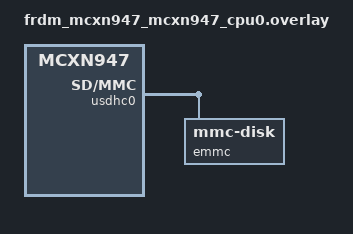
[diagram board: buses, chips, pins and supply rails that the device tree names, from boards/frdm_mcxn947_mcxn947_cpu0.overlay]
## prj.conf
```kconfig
CONFIG_DISK_ACCESS=y
CONFIG_LOG=y
CONFIG_FILE_SYSTEM=y
CONFIG_FAT_FILESYSTEM_ELM=y
CONFIG_PRINTK=y
CONFIG_MAIN_STACK_SIZE=2048

#CONFIG_SD_LOG_LEVEL_DBG=y
CONFIG_FILE_SYSTEM_MKFS=y
```

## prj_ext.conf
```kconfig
# Copyright (c) 2023 Antmicro <www.antmicro.com>
# SPDX-License-Identifier: Apache-2.0

CONFIG_LOG=y
CONFIG_LOG_MODE_IMMEDIATE=y

CONFIG_MAIN_STACK_SIZE=2048

CONFIG_FILE_SYSTEM=y
CONFIG_FILE_SYSTEM_EXT2=y

# Enable to allow formatting
# CONFIG_FILE_SYSTEM_MKFS=y
# CONFIG_TEST_RANDOM_GENERATOR=y

CONFIG_DISK_ACCESS=y
CONFIG_DISK_DRIVER_SDMMC=y

# First block of first partition after GPT
CONFIG_EXT2_DISK_STARTING_SECTOR=2082
Is this in?
```

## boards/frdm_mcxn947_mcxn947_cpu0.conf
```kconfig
CONFIG_LOG=y
CONFIG_LOG_PRINTK=y
CONFIG_USE_SEGGER_RTT=n
CONFIG_LOG_BACKEND_RTT=n
CONFIG_LOG_BUFFER_SIZE=10240

CONFIG_DEBUG_OPTIMIZATIONS=y


CONFIG_DISK_DRIVERS=y
CONFIG_DISK_ACCESS=y
CONFIG_SD_LOG_LEVEL_DBG=y
CONFIG_SD_OCR_RETRY_COUNT=10
```

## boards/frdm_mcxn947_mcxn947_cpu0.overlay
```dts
&usdhc0 {
	status = "okay";
	pinctrl-0 = <&pinmux_usdhc0>;
	pinctrl-1 = <&pinmux_usdhc0>;
	pinctrl-2 = <&pinmux_usdhc0>;
	pinctrl-names = "default", "slow", "med";
	no-1-8-v;
	/delete-property/ cd-gpios; // Remove card detect to free PIO2_1 for D4
	pwr-gpios = <&gpio1 22 GPIO_ACTIVE_HIGH>; // eMMC power enable pin
	//	pwr-gpios = <&gpio1 17 GPIO_ACTIVE_LOW>; // eMMC reset pin
	power-delay-ms = <200>;
	/* eMMC - embedded storage */
	emmc {
//				compatible = "zephyr,sdmmc-disk";
		compatible = "zephyr,mmc-disk";
		disk-name = "SD2";
		status = "okay";
	};
};


&pinctrl {

	pinmux_usdhc0: pinmux_usdhc0 {
		group0 {
			pinmux = <SDHC0_CMD_PIO2_5>,
					 <SDHC0_D0_PIO2_3>,
					 <SDHC0_D1_PIO2_2>,
					 <SDHC0_D2_PIO2_7>,
					 <SDHC0_D3_PIO2_6>,
					 <SDHC0_D4_PIO2_1>,
					 <SDHC0_D5_PIO2_0>,
					 <SDHC0_D6_PIO2_9>,
					 <SDHC0_D7_PIO2_8>;
			slew-rate = "fast";
			drive-strength = "low";
			bias-pull-up;
			input-enable;
		};

		group1 {
			pinmux = <SDHC0_CLK_PIO2_4>;
			slew-rate = "fast";
			drive-strength = "low";
			//			input-enable;
		};
	};
};


&flexcomm2 {
	status = "disabled";
};

&flexcomm2_lpi2c2 {
	status = "disabled";
};

&flexcomm2_lpuart2 {
	status = "disabled";
};

&flexspi {
	status = "disabled";
	w25q64jvssiq: w25q64jvssiq@0 {
		status = "disabled";
	};
};

&enet {
	status = "disabled";
};

&enet_mac {
	status = "disabled";
};

&enet_mdio {
	status = "disabled";
};

&flexpwm1_pwm0 {
	status = "disabled";
	//	pinctrl-0 = <&pinmux_flexpwm1_pwm0>;
	//	pinctrl-names = "default";
};
&flexpwm1_pwm1 {
	status = "disabled";
};
&flexpwm1_pwm2 {
	status = "disabled";
};

&flexcan0 {
	status = "disabled";
	//	pinctrl-0 = <&pinmux_flexcan0>;
	//	pinctrl-names = "default";
};


&lpcmp0 {
	status = "disabled";
};

&sc_timer {
	status = "disabled";
	//	pinctrl-0 = <&pinmux_sctimer>;
	//	pinctrl-names = "default";
};


&sai0 {
	status = "disabled";
};

&os_timer {
	status = "disabled";
};

/ {
	gpio_keys {
		compatible = "gpio-keys";

		user_button_2: button_0 {
			label = "User SW2";
			gpios = <&gpio0 23 (GPIO_ACTIVE_LOW | GPIO_PULL_UP)>;
			zephyr,code = <INPUT_KEY_0>;
			status = "disabled";
		};

		user_button_3: button_1 {
			label = "User SW3";
			gpios = <&gpio0 6 (GPIO_ACTIVE_LOW | GPIO_PULL_UP)>;
			zephyr,code = <INPUT_KEY_1>;
			status = "disabled";
		};
	};
};

&smartdma {
	status = "disabled";
};

&video_sdma {
	status = "disabled";
};

&sai0 {
	status = "disabled";
};

&sai1 {
	status = "disabled";
};
```

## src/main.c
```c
#include <zephyr/kernel.h>
#include <zephyr/device.h>
#include <zephyr/storage/disk_access.h>
#include <zephyr/logging/log.h>
#include <zephyr/fs/fs.h>

#if defined(CONFIG_FAT_FILESYSTEM_ELM)

#include <ff.h>

/*
 *  Note the fatfs library is able to mount only strings inside _VOLUME_STRS
 *  in ffconf.h
 */
#if defined(CONFIG_DISK_DRIVER_MMC)
#define DISK_DRIVE_NAME "SD2"
#else
#define DISK_DRIVE_NAME "SD"
#endif

#define DISK_MOUNT_PT "/"DISK_DRIVE_NAME":"

static FATFS fat_fs;
/* mounting info */
static struct fs_mount_t mp = {
	.type = FS_FATFS,
	.fs_data = &fat_fs,
};

#elif defined(CONFIG_FILE_SYSTEM_EXT2)

#include <zephyr/fs/ext2.h>

#define DISK_DRIVE_NAME "SD"
#define DISK_MOUNT_PT "/ext"

static struct fs_mount_t mp = {
	.type = FS_EXT2,
	.flags = FS_MOUNT_FLAG_NO_FORMAT,
	.storage_dev = (void *)DISK_DRIVE_NAME,
	.mnt_point = "/ext",
};

#endif

#if defined(CONFIG_FAT_FILESYSTEM_ELM)
#define FS_RET_OK FR_OK
#else
#define FS_RET_OK 0
#endif

LOG_MODULE_REGISTER(main);

#define MAX_PATH 128
#define SOME_FILE_NAME "some.dat"
#define SOME_DIR_NAME "some"
#define SOME_REQUIRED_LEN MAX(sizeof(SOME_FILE_NAME), sizeof(SOME_DIR_NAME))

static int lsdir(const char *path);
#ifdef CONFIG_FS_SAMPLE_CREATE_SOME_ENTRIES
static bool create_some_entries(const char *base_path)
{
	char path[MAX_PATH];
	struct fs_file_t file;
	int base = strlen(base_path);

	fs_file_t_init(&file);

	if (base >= (sizeof(path) - SOME_REQUIRED_LEN)) {
		LOG_ERR("Not enough concatenation buffer to create file paths");
		return false;
	}

	LOG_INF("Creating some dir entries in %s", base_path);
	strncpy(path, base_path, sizeof(path));

	path[base++] = '/';
	path[base] = 0;
	strcat(&path[base], SOME_FILE_NAME);

	if (fs_open(&file, path, FS_O_CREATE) != 0) {
		LOG_ERR("Failed to create file %s", path);
		return false;
	}
	fs_close(&file);

	path[base] = 0;
	strcat(&path[base], SOME_DIR_NAME);

	if (fs_mkdir(path) != 0) {
		LOG_ERR("Failed to create dir %s", path);
		/* If code gets here, it has at least successes to create the
		 * file so allow function to return true.
		 */
	}
	return true;
}
#endif

static const char *disk_mount_pt = DISK_MOUNT_PT;

int main(void)
{

	LOG_WRN(" IN Branch sample");
	/* raw disk i/o */
	do {
		static const char *disk_pdrv = DISK_DRIVE_NAME;
		uint64_t memory_size_mb;
		uint32_t block_count;
		uint32_t block_size;

		if (disk_access_ioctl(disk_pdrv,
				DISK_IOCTL_CTRL_INIT, NULL) != 0) {
			LOG_ERR("Storage init ERROR!");
			break;
		}

		if (disk_access_ioctl(disk_pdrv,
				DISK_IOCTL_GET_SECTOR_COUNT, &block_count)) {
			LOG_ERR("Unable to get sector count");
			break;
		}
		LOG_INF("Block count %u", block_count);

		if (disk_access_ioctl(disk_pdrv,
				DISK_IOCTL_GET_SECTOR_SIZE, &block_size)) {
			LOG_ERR("Unable to get sector size");
			break;
		}
		printk("Sector size %u\n", block_size);

		memory_size_mb = (uint64_t)block_count * block_size;
		printk("Memory Size(MB) %u\n", (uint32_t)(memory_size_mb >> 20));

		if (disk_access_ioctl(disk_pdrv,
				DISK_IOCTL_CTRL_DEINIT, NULL) != 0) {
			LOG_ERR("Storage deinit ERROR!");
			break;
		}
	} while (0);

	mp.mnt_point = disk_mount_pt;


	int res = fs_mount(&mp);
	LOG_WRN("after FS Mount");

	if (res == FS_RET_OK) {
		printk("Disk mounted.\n");
		/* Try to unmount and remount the disk */
		res = fs_unmount(&mp);
		if (res != FS_RET_OK) {
			printk("Error unmounting disk\n");
			return res;
		}
		res = fs_mount(&mp);
		if (res != FS_RET_OK) {
			printk("Error remounting disk\n");
			return res;
		}

		if (lsdir(disk_mount_pt) == 0) {
#ifdef CONFIG_FS_SAMPLE_CREATE_SOME_ENTRIES
			if (create_some_entries(disk_mount_pt)) {
				lsdir(disk_mount_pt);
			}
#endif
		}
	} else {
		printk("Error mounting disk.\n");
	}

	fs_unmount(&mp);

	while (1) {
		k_sleep(K_MSEC(1000));
	}
	return 0;
}

/* List dir entry by path
 *
 * @param path Absolute path to list
 *
 * @return Negative errno code on error, number of listed entries on
 *         success.
 */
static int lsdir(const char *path)
{
	int res;
	struct fs_dir_t dirp;
	static struct fs_dirent entry;
	int count = 0;

	fs_dir_t_init(&dirp);

	/* Verify fs_opendir() */
	res = fs_opendir(&dirp, path);
	if (res) {
		printk("Error opening dir %s [%d]\n", path, res);
		return res;
	}

	printk("\nListing dir %s ...\n", path);
	for (;;) {
		/* Verify fs_readdir() */
		res = fs_readdir(&dirp, &entry);

		/* entry.name[0] == 0 means end-of-dir */
		if (res || entry.name[0] == 0) {
			break;
		}

		if (entry.type == FS_DIR_ENTRY_DIR) {
			printk("[DIR ] %s\n", entry.name);
		} else {
			printk("[FILE] %s (size = %zu)\n",
				entry.name, entry.size);
		}
		count++;
	}

	/* Verify fs_closedir() */
	fs_closedir(&dirp);
	if (res == 0) {
		res = count;
	}

	return res;
}
```
